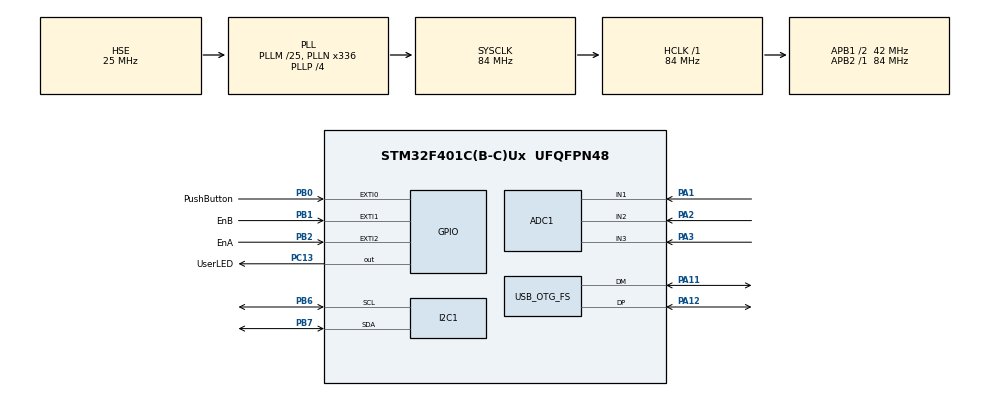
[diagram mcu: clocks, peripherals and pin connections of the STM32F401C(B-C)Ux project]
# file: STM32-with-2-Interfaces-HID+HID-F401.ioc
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ADC1.Channel-0\#ChannelRegularConversion=ADC_CHANNEL_1
ADC1.Channel-1\#ChannelRegularConversion=ADC_CHANNEL_1
ADC1.Channel-2\#ChannelRegularConversion=ADC_CHANNEL_1
ADC1.ContinuousConvMode=ENABLE
ADC1.NbrOfConversion=3
ADC1.NbrOfConversionFlag=1
ADC1.Rank-0\#ChannelRegularConversion=1
ADC1.Rank-1\#ChannelRegularConversion=2
ADC1.Rank-2\#ChannelRegularConversion=3
ADC1.SamplingTime-0\#ChannelRegularConversion=ADC_SAMPLETIME_84CYCLES
ADC1.SamplingTime-1\#ChannelRegularConversion=ADC_SAMPLETIME_84CYCLES
ADC1.SamplingTime-2\#ChannelRegularConversion=ADC_SAMPLETIME_84CYCLES
ADC1.master=1
I2C1.I2C_Mode=I2C_Fast
Mcu.Family=STM32F4
Mcu.Name=STM32F401C(B-C)Ux
Mcu.Package=UFQFPN48
NVIC.EXTI0_IRQn=true\:0\:0\:false\:false\:true\:true\:true\:true
NVIC.EXTI1_IRQn=true\:0\:0\:false\:false\:true\:true\:true\:true
NVIC.EXTI2_IRQn=true\:0\:0\:false\:false\:true\:true\:true\:true
NVIC.OTG_FS_IRQn=true\:0\:0\:false\:false\:true\:false\:true\:true
NVIC.PriorityGroup=NVIC_PRIORITYGROUP_4
NVIC.TIM2_IRQn=true\:0\:0\:false\:false\:true\:true\:true\:true
PA1.Signal=ADCx_IN1
PA11.Mode=Device_Only
PA11.Signal=USB_OTG_FS_DM
PA12.Mode=Device_Only
PA12.Signal=USB_OTG_FS_DP
PA2.Signal=ADCx_IN2
PA3.Signal=ADCx_IN3
PB0.GPIO_Label=PushButton
PB0.GPIO_ModeDefaultEXTI=GPIO_MODE_IT_FALLING
PB0.Signal=GPXTI0
PB1.GPIO_Label=EnB
PB1.GPIO_ModeDefaultEXTI=GPIO_MODE_IT_RISING_FALLING
PB1.Signal=GPXTI1
PB2.GPIO_Label=EnA
PB2.GPIO_ModeDefaultEXTI=GPIO_MODE_IT_RISING_FALLING
PB2.Signal=GPXTI2
PB6.Mode=I2C
PB6.Signal=I2C1_SCL
PB7.Mode=I2C
PB7.Signal=I2C1_SDA
PC13-ANTI_TAMP.GPIO_Label=UserLED
PC13-ANTI_TAMP.Signal=GPIO_Output
PH0\ -\ OSC_IN.Mode=HSE-External-Oscillator
PH0\ -\ OSC_IN.Signal=RCC_OSC_IN
PH1\ -\ OSC_OUT.Mode=HSE-External-Oscillator
PH1\ -\ OSC_OUT.Signal=RCC_OSC_OUT
ProjectManager.HeapSize=0x400
ProjectManager.StackSize=0x600
ProjectManager.TargetToolchain=STM32CubeIDE
RCC.48MHZClocksFreq_Value=48000000
RCC.AHBFreq_Value=84000000
RCC.APB1CLKDivider=RCC_HCLK_DIV2
RCC.APB1Freq_Value=42000000
RCC.APB1TimFreq_Value=84000000
RCC.APB2Freq_Value=84000000
RCC.APB2TimFreq_Value=84000000
RCC.CortexFreq_Value=84000000
RCC.HCLKFreq_Value=84000000
RCC.HSE_VALUE=25000000
RCC.HSI_VALUE=16000000
RCC.LSE_VALUE=32768
RCC.PLLM=25
RCC.PLLN=336
RCC.PLLP=RCC_PLLP_DIV4
RCC.PLLQ=7
RCC.SYSCLKFreq_VALUE=84000000
RCC.SYSCLKSource=RCC_SYSCLKSOURCE_PLLCLK
RCC.VCOOutputFreq_Value=336000000
SH.ADCx_IN1.0=ADC1_IN1,IN1
SH.ADCx_IN2.0=ADC1_IN2,IN2
SH.ADCx_IN3.0=ADC1_IN3,IN3
TIM2.Period=839
TIM2.Prescaler=99
USB_DEVICE.CLASS_NAME_FS=CUSTOM_HID
USB_DEVICE.CUSTOM_HID_FS_BINTERVAL=0x1
USB_DEVICE.PID_CUSTOMHID_FS=22362 
USB_DEVICE.USBD_CUSTOMHID_OUTREPORT_BUF_SIZE=8
USB_DEVICE.USBD_CUSTOM_HID_REPORT_DESC_SIZE=63
USB_DEVICE.USBD_MAX_NUM_INTERFACES=2
USB_DEVICE.USBD_SELF_POWERED=0
USB_DEVICE.VirtualMode=CustomHid
USB_DEVICE.VirtualModeFS=Custom_Hid_FS
USB_OTG_FS.VirtualMode=Device_Only
VP_TIM2_VS_ClockSourceINT.Mode=Internal
VP_USB_DEVICE_VS_USB_DEVICE_CUSTOM_HID_FS.Mode=CUSTOM_HID_FS
board=custom

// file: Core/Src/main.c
/* USER CODE BEGIN Header */
/**
 ******************************************************************************
 * @file           : main.c
 * @brief          : Main program body
 ******************************************************************************
 * @attention
 *
 * Copyright (c) 2024 STMicroelectronics.
 * All rights reserved.
 *
 * This software is licensed under terms that can be found in the LICENSE file
 * in the root directory of this software component.
 * If no LICENSE file comes with this software, it is provided AS-IS.
 *
 ******************************************************************************
 */
/* USER CODE END Header */
#include "main.h"
#include "usb_device.h"

/* USER CODE BEGIN Includes */
#include "usbd_customhid.h"
#include "ssd1306.h"
#include "ssd1306_tests.h"
#include "math.h"
#include <stdint.h>
#include <stdio.h>
#include <stdlib.h>
#include <stdbool.h>
/* USER CODE END Includes */

ADC_HandleTypeDef hadc1;

I2C_HandleTypeDef hi2c1;

TIM_HandleTypeDef htim2;

/* USER CODE BEGIN PV */
extern USBD_HandleTypeDef hUsbDeviceFS;
#define bufferSize 8
uint8_t keyboardHID[bufferSize] = { 0, 0, 0, 0, 0, 0, 0, 0 };
uint8_t buffer[bufferSize] = { 0, 0, 0, 0, 0, 0, 0, 0 };
uint32_t PB_activity = 2863311530;
uint8_t KEY[3] = { 0x04, 0x16, 0x07 };
uint32_t USBKEYBOARDfailCOUNTER = 0;
uint32_t USBKEYBOARDbusyCOUNTER = 0;
uint32_t USBJOYSTICKfailCOUNTER = 0;
uint32_t USBJOYSTICKbusyCOUNTER = 0;
uint32_t USBKEYBOARDokTIME = 0;
uint32_t USBJOYSTICKokTIME = 0;
uint32_t USBKEYBOARDokSTART = 0;
uint32_t USBJOYSTICKokSTART = 0;
bool ISsendKEYBOARD = SET;

uint32_t loopTime = 0;
int32_t HE_value[3] = { 0, 0, 0 };
uint32_t HE_TOPvalue[3] = { 0, 0, 0 };
uint32_t HE_BOTTOMvalue[3] = { 0, 0, 0 };
uint32_t HE_RANGEvalue[3] = { 0, 0, 0 };
float HE_SCALEvalue[3] = { 0.00, 0.00, 0.00 };
float HE_MMvalue[3] = { 0.00, 0.00, 0.00 };
float HE_lastMMvalue[3] = { 0.00, 0.00, 0.00 };
uint8_t HE_Status[3] = { RESET, RESET, RESET };
float HE_StatusChangeOffset = 0.15;
float HE_trigger = 0.30;
int32_t HE_RTcount = 0;
static float SwitchTravelDistance = 4.02;
static uint32_t ADC_HE_Channel[3] = {
ADC_CHANNEL_1, ADC_CHANNEL_2,
ADC_CHANNEL_3 };
bool HE_calibration = RESET;

volatile int32_t encoderPos = 0;
volatile bool encoderPrevA = RESET;
volatile bool encoderPrevB = RESET;
int32_t lastEncoderPos = 0;
uint32_t lastEncoderTime = 0;
volatile bool pushButtonState = RESET;
bool encoderCW = RESET;
bool encoderCCW = RESET;

const unsigned char bitmap_Press[] = { 0x10, 0x38, 0x38, 0x38, 0x38, 0x38, 0x38,
		0x38, 0x38, 0x38, 0x38, 0x38, 0x38, 0x38, 0x38, 0x38, 0x38, 0xfe, 0xfe,
		0x7c, 0x38, 0x10, };
const unsigned char bitmap_Realese[] = { 0x10, 0x38, 0x7c, 0xfe, 0xfe, 0x38,
		0x38, 0x38, 0x38, 0x38, 0x38, 0x38, 0x38, 0x38, 0x38, 0x38, 0x38, 0x38,
		0x38, 0x38, 0x38, 0x10, };
const unsigned char bitmap_OSUlogo[] = { 0x00, 0x00, 0x00, 0x00, 0x00, 0x00,
		0x00, 0x00, 0x00, 0x00, 0x00, 0x00, 0x00, 0x00, 0x00, 0x00, 0x00, 0x00,
		0x00, 0x00, 0x00, 0x00, 0x00, 0x00, 0x00, 0x00, 0x00, 0x00, 0x00, 0x00,
		0x00, 0x00, 0x00, 0x00, 0x00, 0x00, 0x00, 0x00, 0x00, 0x00, 0x00, 0x00,
		0x00, 0x7f, 0xfe, 0x00, 0x00, 0x00, 0x00, 0x00, 0x03, 0xff, 0xff, 0xc0,
		0x00, 0x00, 0x00, 0x00, 0x0f, 0xf8, 0x1f, 0xf0, 0x00, 0x00, 0x00, 0x00,
		0x3f, 0x00, 0x00, 0xfc, 0x00, 0x00, 0x00, 0x00, 0xfc, 0x00, 0x00, 0x3f,
		0x00, 0x00, 0x00, 0x01, 0xf0, 0x00, 0x00, 0x0f, 0x80, 0x00, 0x00, 0x03,
		0xc0, 0x00, 0x00, 0x03, 0xc0, 0x00, 0x00, 0x07, 0x80, 0x00, 0x00, 0x01,
		0xe0, 0x00, 0x00, 0x0f, 0x00, 0x00, 0x00, 0x00, 0xf0, 0x00, 0x00, 0x1e,
		0x00, 0x00, 0x00, 0x00, 0x78, 0x00, 0x00, 0x3c, 0x00, 0x00, 0x00, 0x00,
		0x3c, 0x00, 0x00, 0x78, 0x00, 0x00, 0x00, 0x00, 0x1e, 0x00, 0x00, 0x70,
		0x00, 0x00, 0x00, 0x00, 0x0e, 0x00, 0x00, 0xe0, 0x00, 0x00, 0x00, 0x00,
		0x07, 0x00, 0x00, 0xe0, 0x00, 0x00, 0x00, 0x00, 0x07, 0x00, 0x01, 0xc0,
		0x00, 0x00, 0x00, 0x00, 0x03, 0x80, 0x01, 0xc0, 0x00, 0x00, 0x00, 0x00,
		0x03, 0x80, 0x03, 0x80, 0x00, 0x00, 0x00, 0x00, 0x01, 0xc0, 0x03, 0x80,
		0x00, 0x00, 0x00, 0x01, 0xc1, 0xc0, 0x03, 0x00, 0x00, 0x00, 0x00, 0x01,
		0xc0, 0xc0, 0x07, 0x00, 0x00, 0x00, 0x00, 0x01, 0xc0, 0xe0, 0x07, 0x00,
		0x00, 0x00, 0x00, 0x01, 0xc0, 0xe0, 0x07, 0x01, 0xf8, 0x1f, 0x9c, 0x71,
		0xc0, 0xe0, 0x07, 0x03, 0xfc, 0x3f, 0x1c, 0x71, 0xc0, 0xe0, 0x06, 0x03,
		0x8e, 0x70, 0x1c, 0x71, 0xc0, 0x60, 0x06, 0x07, 0x0e, 0x78, 0x1c, 0x71,
		0xc0, 0x60, 0x06, 0x07, 0x0e, 0x3f, 0x1c, 0x71, 0xc0, 0x60, 0x06, 0x07,
		0x06, 0x1f, 0x9c, 0x71, 0xc0, 0x60, 0x06, 0x07, 0x0e, 0x03, 0x9c, 0x70,
		0x00, 0x60, 0x06, 0x03, 0x8e, 0x03, 0x9c, 0x70, 0x80, 0x60, 0x07, 0x03,
		0xde, 0x3f, 0x8f, 0xf1, 0xc0, 0xe0, 0x07, 0x01, 0xfc, 0x7f, 0x0f, 0xf1,
		0xc0, 0xe0, 0x07, 0x00, 0x70, 0x3c, 0x03, 0xe1, 0xc0, 0xe0, 0x07, 0x00,
		0x00, 0x00, 0x00, 0x00, 0x00, 0xe0, 0x03, 0x00, 0x00, 0x00, 0x00, 0x00,
		0x00, 0xc0, 0x03, 0x80, 0x00, 0x00, 0x00, 0x00, 0x01, 0xc0, 0x03, 0x80,
		0x00, 0x00, 0x00, 0x00, 0x01, 0xc0, 0x01, 0xc0, 0x00, 0x00, 0x00, 0x00,
		0x03, 0x80, 0x01, 0xc0, 0x00, 0x00, 0x00, 0x00, 0x03, 0x80, 0x00, 0xe0,
		0x00, 0x00, 0x00, 0x00, 0x07, 0x00, 0x00, 0xe0, 0x00, 0x00, 0x00, 0x00,
		0x07, 0x00, 0x00, 0x70, 0x00, 0x00, 0x00, 0x00, 0x0e, 0x00, 0x00, 0x78,
		0x00, 0x00, 0x00, 0x00, 0x1e, 0x00, 0x00, 0x3c, 0x00, 0x00, 0x00, 0x00,
		0x3c, 0x00, 0x00, 0x1e, 0x00, 0x00, 0x00, 0x00, 0x78, 0x00, 0x00, 0x0f,
		0x00, 0x00, 0x00, 0x00, 0xf0, 0x00, 0x00, 0x07, 0x80, 0x00, 0x00, 0x01,
		0xe0, 0x00, 0x00, 0x03, 0xc0, 0x00, 0x00, 0x03, 0xc0, 0x00, 0x00, 0x01,
		0xf0, 0x00, 0x00, 0x0f, 0x80, 0x00, 0x00, 0x00, 0xfc, 0x00, 0x00, 0x3f,
		0x00, 0x00, 0x00, 0x00, 0x3f, 0x00, 0x00, 0xfc, 0x00, 0x00, 0x00, 0x00,
		0x0f, 0xf8, 0x1f, 0xf0, 0x00, 0x00, 0x00, 0x00, 0x03, 0xff, 0xff, 0xc0,
		0x00, 0x00, 0x00, 0x00, 0x00, 0x7f, 0xfe, 0x00, 0x00, 0x00, 0x00, 0x00,
		0x00, 0x00, 0x00, 0x00, 0x00, 0x00, 0x00, 0x00, 0x00, 0x00, 0x00, 0x00,
		0x00, 0x00, 0x00, 0x00, 0x00, 0x00, 0x00, 0x00, 0x00, 0x00, 0x00, 0x00,
		0x00, 0x00, 0x00, 0x00, 0x00, 0x00, 0x00, 0x00, 0x00, 0x00, 0x00, 0x00,
		0x00, 0x00 };
char RTosuPAD[] = "RTosuPAD";
char By[] = "By:";
char fikr_hrd[] = "@fikr_hrd";
char RTcount[] = "RTcount:";
char Trig[] = "Trig:";
char RT[] = "RT:";
uint32_t ssd1306_timeTaken = 0;
bool ssd1306_Enable = RESET;
int8_t ssd1306_displayIndex = 0;
bool ssd1306_displayEditing = RESET;
/* USER CODE END PV */

void SystemClock_Config(void);
static void MX_GPIO_Init(void);
static void MX_ADC1_Init(void);
static void MX_I2C1_Init(void);
static void MX_TIM2_Init(void);
/* USER CODE BEGIN PFP */
void ADC_HE_Init(void);
void ADC_Read_HE1(void);
void ADC_Read_HE2(void);
void ADC_Read_HE3(void);
void ADC_HE_Reading(void);
void Blink(void);
void EncoderUpdate(void);
void Encoder(void);
void PushButtonUpdate(void);
void keyUpdate(void);
void ssd1306_display(void);
void ssd1306_LOGO(void);
float Fconstrain(float, float, float);
int32_t constrain(int32_t, int32_t, int32_t);

// TODO change below variable if generate new code
//#define USB_CUSTOM_HID_CONFIG_DESC_SIZ               59U

//#ifndef CUSTOM_HID_KEYBOARD_EPIN_ADDR
//#define CUSTOM_HID_KEYBOARD_EPIN_ADDR                         0x81U
//#endif /* CUSTOM_HID_KEYBOARD_EPIN_ADDR */
//
//#ifndef CUSTOM_HID_KEYBOARD_EPIN_SIZE
//#define CUSTOM_HID_KEYBOARD_EPIN_SIZE                         0x02U
//#endif /* CUSTOM_HID_KEYBOARD_EPIN_SIZE */
//
//#ifndef CUSTOM_HID_JOYSTICK_EPIN_ADDR
//#define CUSTOM_HID_JOYSTICK_EPIN_ADDR                         0x82U
//#endif /* CUSTOM_HID_JOYSTICK_EPIN_ADDR */
//
//#ifndef CUSTOM_HID_JOYSTICK_EPIN_SIZE
//#define CUSTOM_HID_JOYSTICK_EPIN_SIZE                         0x02U
//#endif /* CUSTOM_HID_JOYSTICK_EPIN_SIZE */

//#define USBD_CUSTOM_HID_KEYBOARD_REPORT_DESC_SIZE     2U
//#define USBD_CUSTOM_HID_JOYSTICK_REPORT_DESC_SIZE     2U
/* USER CODE END PFP */

int main(void) {

	/* MCU Configuration--------------------------------------------------------*/

	/* Reset of all peripherals, Initializes the Flash interface and the Systick. */
	HAL_Init();

	/* Configure the system clock */
	SystemClock_Config();

	/* Initialize all configured peripherals */
	MX_GPIO_Init();
	MX_ADC1_Init();
	MX_I2C1_Init();
	MX_USB_DEVICE_Init();
	MX_TIM2_Init();
	/* USER CODE BEGIN 2 */
//	ssd1306_Init();
//	ADC_HE_Init();
//	ssd1306_LOGO();
	keyboardHID[2] = 0x71;
	keyboardHID[3] = 0x72;
	keyboardHID[4] = 0x73;

	buffer[0] = 0;
	buffer[1] = PB_activity >> 8;
	buffer[2] = PB_activity >> 16;
	buffer[3] = PB_activity >> 24;
	buffer[4] = LOBYTE(65535 / 2);
	buffer[5] = HIBYTE(65535 / 2);
	buffer[6] = LOBYTE(65535 / 2);
	buffer[7] = HIBYTE(65535 / 2);
	/* USER CODE END 2 */

	/* Infinite loop */
	while (1) {

		/* USER CODE BEGIN 3 */
		uint32_t x = HAL_GetTick();

		/*while (USBD_CUSTOM_HID_SendReport(&hUsbDeviceFS, keyboardHID,
		bufferSize, CUSTOM_HID_KEYBOARD_EPIN_ADDR) != USBD_OK)
			;
		while (USBD_CUSTOM_HID_SendReport(&hUsbDeviceFS, buffer,
		bufferSize, CUSTOM_HID_JOYSTICK_EPIN_ADDR) != USBD_OK)
			;*/

//		ssd1306_TestAll();
//		ADC_HE_Reading();
//		ssd1306_display();
//		Encoder();
//		keyUpdate();
//		Blink();

		loopTime = HAL_GetTick() - x;
	}
	/* USER CODE END 3 */
}

void SystemClock_Config(void) {
	RCC_OscInitTypeDef RCC_OscInitStruct = { 0 };
	RCC_ClkInitTypeDef RCC_ClkInitStruct = { 0 };

	/** Configure the main internal regulator output voltage
	 */
	__HAL_RCC_PWR_CLK_ENABLE();
	__HAL_PWR_VOLTAGESCALING_CONFIG(PWR_REGULATOR_VOLTAGE_SCALE2);

	/** Initializes the RCC Oscillators according to the specified parameters
	 * in the RCC_OscInitTypeDef structure.
	 */
	RCC_OscInitStruct.OscillatorType = RCC_OSCILLATORTYPE_HSE;
	RCC_OscInitStruct.HSEState = RCC_HSE_ON;
	RCC_OscInitStruct.PLL.PLLState = RCC_PLL_ON;
	RCC_OscInitStruct.PLL.PLLSource = RCC_PLLSOURCE_HSE;
	RCC_OscInitStruct.PLL.PLLM = 25;
	RCC_OscInitStruct.PLL.PLLN = 336;
	RCC_OscInitStruct.PLL.PLLP = RCC_PLLP_DIV4;
	RCC_OscInitStruct.PLL.PLLQ = 7;
	if (HAL_RCC_OscConfig(&RCC_OscInitStruct) != HAL_OK) {
		Error_Handler();
	}

	/** Initializes the CPU, AHB and APB buses clocks
	 */
	RCC_ClkInitStruct.ClockType = RCC_CLOCKTYPE_HCLK | RCC_CLOCKTYPE_SYSCLK
			| RCC_CLOCKTYPE_PCLK1 | RCC_CLOCKTYPE_PCLK2;
	RCC_ClkInitStruct.SYSCLKSource = RCC_SYSCLKSOURCE_PLLCLK;
	RCC_ClkInitStruct.AHBCLKDivider = RCC_SYSCLK_DIV1;
	RCC_ClkInitStruct.APB1CLKDivider = RCC_HCLK_DIV2;
	RCC_ClkInitStruct.APB2CLKDivider = RCC_HCLK_DIV1;

	if (HAL_RCC_ClockConfig(&RCC_ClkInitStruct, FLASH_LATENCY_2) != HAL_OK) {
		Error_Handler();
	}
}

static void MX_ADC1_Init(void) {

	ADC_ChannelConfTypeDef sConfig = { 0 };

	/** Configure the global features of the ADC (Clock, Resolution, Data Alignment and number of conversion)
	 */
	hadc1.Instance = ADC1;
	hadc1.Init.ClockPrescaler = ADC_CLOCK_SYNC_PCLK_DIV4;
	hadc1.Init.Resolution = ADC_RESOLUTION_12B;
	hadc1.Init.ScanConvMode = ENABLE;
	hadc1.Init.ContinuousConvMode = ENABLE;
	hadc1.Init.DiscontinuousConvMode = DISABLE;
	hadc1.Init.ExternalTrigConvEdge = ADC_EXTERNALTRIGCONVEDGE_NONE;
	hadc1.Init.ExternalTrigConv = ADC_SOFTWARE_START;
	hadc1.Init.DataAlign = ADC_DATAALIGN_RIGHT;
	hadc1.Init.NbrOfConversion = 3;
	hadc1.Init.DMAContinuousRequests = DISABLE;
	hadc1.Init.EOCSelection = ADC_EOC_SINGLE_CONV;
	if (HAL_ADC_Init(&hadc1) != HAL_OK) {
		Error_Handler();
	}

	/** Configure for the selected ADC regular channel its corresponding rank in the sequencer and its sample time.
	 */
	sConfig.Channel = ADC_CHANNEL_1;
	sConfig.Rank = 1;
	sConfig.SamplingTime = ADC_SAMPLETIME_84CYCLES;
	if (HAL_ADC_ConfigChannel(&hadc1, &sConfig) != HAL_OK) {
		Error_Handler();
	}

	/** Configure for the selected ADC regular channel its corresponding rank in the sequencer and its sample time.
	 */
	sConfig.Rank = 2;
	if (HAL_ADC_ConfigChannel(&hadc1, &sConfig) != HAL_OK) {
		Error_Handler();
	}

	/** Configure for the selected ADC regular channel its corresponding rank in the sequencer and its sample time.
	 */
	sConfig.Rank = 3;
	if (HAL_ADC_ConfigChannel(&hadc1, &sConfig) != HAL_OK) {
		Error_Handler();
	}

}

static void MX_I2C1_Init(void) {

	hi2c1.Instance = I2C1;
	hi2c1.Init.ClockSpeed = 400000;
	hi2c1.Init.DutyCycle = I2C_DUTYCYCLE_2;
	hi2c1.Init.OwnAddress1 = 0;
	hi2c1.Init.AddressingMode = I2C_ADDRESSINGMODE_7BIT;
	hi2c1.Init.DualAddressMode = I2C_DUALADDRESS_DISABLE;
	hi2c1.Init.OwnAddress2 = 0;
	hi2c1.Init.GeneralCallMode = I2C_GENERALCALL_DISABLE;
	hi2c1.Init.NoStretchMode = I2C_NOSTRETCH_DISABLE;
	if (HAL_I2C_Init(&hi2c1) != HAL_OK) {
		Error_Handler();
	}

}

static void MX_TIM2_Init(void) {

	TIM_ClockConfigTypeDef sClockSourceConfig = { 0 };
	TIM_MasterConfigTypeDef sMasterConfig = { 0 };

	htim2.Instance = TIM2;
	htim2.Init.Prescaler = 99;
	htim2.Init.CounterMode = TIM_COUNTERMODE_UP;
	htim2.Init.Period = 419;
	htim2.Init.ClockDivision = TIM_CLOCKDIVISION_DIV1;
	htim2.Init.AutoReloadPreload = TIM_AUTORELOAD_PRELOAD_DISABLE;
	if (HAL_TIM_Base_Init(&htim2) != HAL_OK) {
		Error_Handler();
	}
	sClockSourceConfig.ClockSource = TIM_CLOCKSOURCE_INTERNAL;
	if (HAL_TIM_ConfigClockSource(&htim2, &sClockSourceConfig) != HAL_OK) {
		Error_Handler();
	}
	sMasterConfig.MasterOutputTrigger = TIM_TRGO_RESET;
	sMasterConfig.MasterSlaveMode = TIM_MASTERSLAVEMODE_DISABLE;
	if (HAL_TIMEx_MasterConfigSynchronization(&htim2, &sMasterConfig)
			!= HAL_OK) {
		Error_Handler();
	}

}

static void MX_GPIO_Init(void) {
	LL_EXTI_InitTypeDef EXTI_InitStruct = { 0 };
	LL_GPIO_InitTypeDef GPIO_InitStruct = { 0 };

	/* GPIO Ports Clock Enable */
	LL_AHB1_GRP1_EnableClock(LL_AHB1_GRP1_PERIPH_GPIOC);
	LL_AHB1_GRP1_EnableClock(LL_AHB1_GRP1_PERIPH_GPIOH);
	LL_AHB1_GRP1_EnableClock(LL_AHB1_GRP1_PERIPH_GPIOA);
	LL_AHB1_GRP1_EnableClock(LL_AHB1_GRP1_PERIPH_GPIOB);

	/**/
	LL_GPIO_ResetOutputPin(UserLED_GPIO_Port, UserLED_Pin);

	/**/
	GPIO_InitStruct.Pin = UserLED_Pin;
	GPIO_InitStruct.Mode = LL_GPIO_MODE_OUTPUT;
	GPIO_InitStruct.Speed = LL_GPIO_SPEED_FREQ_LOW;
	GPIO_InitStruct.OutputType = LL_GPIO_OUTPUT_PUSHPULL;
	GPIO_InitStruct.Pull = LL_GPIO_PULL_NO;
	LL_GPIO_Init(UserLED_GPIO_Port, &GPIO_InitStruct);

	/**/
	LL_SYSCFG_SetEXTISource(LL_SYSCFG_EXTI_PORTB, LL_SYSCFG_EXTI_LINE0);

	/**/
	LL_SYSCFG_SetEXTISource(LL_SYSCFG_EXTI_PORTB, LL_SYSCFG_EXTI_LINE1);

	/**/
	LL_SYSCFG_SetEXTISource(LL_SYSCFG_EXTI_PORTB, LL_SYSCFG_EXTI_LINE2);

	/**/
	EXTI_InitStruct.Line_0_31 = LL_EXTI_LINE_0;
	EXTI_InitStruct.LineCommand = ENABLE;
	EXTI_InitStruct.Mode = LL_EXTI_MODE_IT;
	EXTI_InitStruct.Trigger = LL_EXTI_TRIGGER_FALLING;
	LL_EXTI_Init(&EXTI_InitStruct);

	/**/
	EXTI_InitStruct.Line_0_31 = LL_EXTI_LINE_1;
	EXTI_InitStruct.LineCommand = ENABLE;
	EXTI_InitStruct.Mode = LL_EXTI_MODE_IT;
	EXTI_InitStruct.Trigger = LL_EXTI_TRIGGER_RISING_FALLING;
	LL_EXTI_Init(&EXTI_InitStruct);

	/**/
	EXTI_InitStruct.Line_0_31 = LL_EXTI_LINE_2;
	EXTI_InitStruct.LineCommand = ENABLE;
	EXTI_InitStruct.Mode = LL_EXTI_MODE_IT;
	EXTI_InitStruct.Trigger = LL_EXTI_TRIGGER_RISING_FALLING;
	LL_EXTI_Init(&EXTI_InitStruct);

	/**/
	LL_GPIO_SetPinPull(PushButton_GPIO_Port, PushButton_Pin, LL_GPIO_PULL_NO);

	/**/
	LL_GPIO_SetPinPull(EnB_GPIO_Port, EnB_Pin, LL_GPIO_PULL_NO);

	/**/
	LL_GPIO_SetPinPull(EnA_GPIO_Port, EnA_Pin, LL_GPIO_PULL_NO);

	/**/
	LL_GPIO_SetPinMode(PushButton_GPIO_Port, PushButton_Pin,
	LL_GPIO_MODE_INPUT);

	/**/
	LL_GPIO_SetPinMode(EnB_GPIO_Port, EnB_Pin, LL_GPIO_MODE_INPUT);

	/**/
	LL_GPIO_SetPinMode(EnA_GPIO_Port, EnA_Pin, LL_GPIO_MODE_INPUT);

	/* EXTI interrupt init*/
	NVIC_SetPriority(EXTI0_IRQn,
			NVIC_EncodePriority(NVIC_GetPriorityGrouping(), 0, 0));
	NVIC_EnableIRQ(EXTI0_IRQn);
	NVIC_SetPriority(EXTI1_IRQn,
			NVIC_EncodePriority(NVIC_GetPriorityGrouping(), 0, 0));
	NVIC_EnableIRQ(EXTI1_IRQn);
	NVIC_SetPriority(EXTI2_IRQn,
			NVIC_EncodePriority(NVIC_GetPriorityGrouping(), 0, 0));
	NVIC_EnableIRQ(EXTI2_IRQn);

}

/* USER CODE BEGIN 4 */
void ADC_HE_Init(void) {
	/** Configure the global features of the ADC (Clock, Resolution, Data Alignment and number of conversion)
	 */
	hadc1.Instance = ADC1;
	hadc1.Init.ClockPrescaler = ADC_CLOCK_SYNC_PCLK_DIV4;
	hadc1.Init.Resolution = ADC_RESOLUTION_12B;
	hadc1.Init.ScanConvMode = ENABLE;
	hadc1.Init.ContinuousConvMode = ENABLE;
	hadc1.Init.DiscontinuousConvMode = DISABLE;
	hadc1.Init.ExternalTrigConvEdge = ADC_EXTERNALTRIGCONVEDGE_NONE;
	hadc1.Init.ExternalTrigConv = ADC_SOFTWARE_START;
	hadc1.Init.DataAlign = ADC_DATAALIGN_RIGHT;
	hadc1.Init.NbrOfConversion = 1;
	hadc1.Init.DMAContinuousRequests = DISABLE;
	hadc1.Init.EOCSelection = ADC_EOC_SINGLE_CONV;
	if (HAL_ADC_Init(&hadc1) != HAL_OK) {
		Error_Handler();
	}

	for (uint8_t i = 0; i < 3; ++i) {
		ADC_ChannelConfTypeDef sConfig = { 0 };
		/** Configure for the selected ADC regular channel its corresponding rank in the sequencer and its sample time.
		 */
		sConfig.Channel = ADC_HE_Channel[i];
		sConfig.Rank = 1;
		sConfig.SamplingTime = ADC_SAMPLETIME_144CYCLES;
		if (HAL_ADC_ConfigChannel(&hadc1, &sConfig) != HAL_OK) {
			Error_Handler();
		}

		for (uint8_t j = 0; j < 10; ++j) {
			HAL_ADC_Start(&hadc1);
			HAL_ADC_PollForConversion(&hadc1, 1000);
			HE_TOPvalue[i] += HAL_ADC_GetValue(&hadc1);
			HAL_ADC_Stop(&hadc1);
			HAL_Delay(40);
		}
		HE_TOPvalue[i] /= 10;
	}
	LL_GPIO_TogglePin(UserLED_GPIO_Port, UserLED_Pin);
}

void ADC_HE_Reading(void) {
	if (!HE_calibration) {
		if (pushButtonState) {
			pushButtonState = RESET;
			for (uint8_t i = 0; i < 3; ++i) {
				ADC_ChannelConfTypeDef sConfig = { 0 };
				/** Configure for the selected ADC regular channel its corresponding rank in the sequencer and its sample time.
				 */
				sConfig.Channel = ADC_HE_Channel[i];
				sConfig.Rank = 1;
				sConfig.SamplingTime = ADC_SAMPLETIME_144CYCLES;
				if (HAL_ADC_ConfigChannel(&hadc1, &sConfig) != HAL_OK) {
					Error_Handler();
				}

				for (uint8_t j = 0; j < 10; ++j) {
					HAL_ADC_Start(&hadc1);
					HAL_ADC_PollForConversion(&hadc1, 1000);
					HE_BOTTOMvalue[i] += HAL_ADC_GetValue(&hadc1);
					HAL_ADC_Stop(&hadc1);
					HAL_Delay(40);
				}
				HE_BOTTOMvalue[i] /= 10;
				HE_RANGEvalue[i] = HE_TOPvalue[i] - HE_BOTTOMvalue[i];
				HE_SCALEvalue[i] = SwitchTravelDistance / HE_RANGEvalue[i];
			}
			HE_calibration = SET;
		}
	} else {
		for (uint8_t i = 0; i < 3; ++i) {
			ADC_ChannelConfTypeDef sConfig = { 0 };
			/** Configure for the selected ADC regular channel its corresponding rank in the sequencer and its sample time.
			 */
			sConfig.Channel = ADC_HE_Channel[i];
			sConfig.Rank = 1;
			sConfig.SamplingTime = ADC_SAMPLETIME_144CYCLES;
			if (HAL_ADC_ConfigChannel(&hadc1, &sConfig) != HAL_OK) {
				Error_Handler();
			}
			HAL_ADC_Start(&hadc1);
			HAL_ADC_PollForConversion(&hadc1, 1000);
			HE_value[i] = HAL_ADC_GetValue(&hadc1) - HE_BOTTOMvalue[i];
			HAL_ADC_Stop(&hadc1);
			HE_MMvalue[i] = HE_value[i] * HE_SCALEvalue[i];
		}
	}
}

void keyUpdate(void) {
//	static uint32_t time = 0;
//	if (HAL_GetTick() - time > 1) {
//		time = HAL_GetTick();

	if (HE_calibration) {
		for (int8_t i = 0; i < 3; ++i) {
			if (HE_MMvalue[i] < 4.00 - HE_trigger) {
				if (HE_MMvalue[i] > HE_lastMMvalue[i] + HE_StatusChangeOffset
//						|| HE_MMvalue[i] > 4.00
						) {
					HE_RTcount++;
					HE_lastMMvalue[i] = HE_MMvalue[i];
					HE_Status[i] = RESET;
					keyboardHID[i + 2] = 0x00;
				}

				if (HE_MMvalue[i] < HE_lastMMvalue[i] - HE_StatusChangeOffset) {
					HE_lastMMvalue[i] = HE_MMvalue[i];
					HE_Status[i] = SET;
					keyboardHID[i + 2] = KEY[i];
				}
			} else {
				HE_lastMMvalue[i] = HE_MMvalue[i] + HE_StatusChangeOffset;
				HE_Status[i] = RESET;
				keyboardHID[i + 2] = 0x00;
			}

		}
	}

	keyboardHID[5] = 0x00;
	keyboardHID[6] = 0x00;
	if (!ssd1306_Enable) {
		if (encoderCW) {
			encoderCW = RESET;
			keyboardHID[5] = 0x27;
		}

		if (encoderCCW) {
			encoderCCW = RESET;
			keyboardHID[6] = 0x1E;
		}
	}
	keyboardHID[2] = 0x71;
	keyboardHID[3] = 0x72;
	keyboardHID[4] = 0x73;

	buffer[0] = 0;
	buffer[1] = PB_activity >> 8;
	buffer[2] = PB_activity >> 16;
	buffer[3] = PB_activity >> 24;
	buffer[4] = LOBYTE(65535 / 2);
	buffer[5] = HIBYTE(65535 / 2);
	buffer[6] = LOBYTE(65535 / 2);
	buffer[7] = HIBYTE(65535 / 2);

//	while (USBD_CUSTOM_HID_SendReport(&hUsbDeviceFS, keyboardHID,
//	bufferSize, CUSTOM_HID_KEYBOARD_EPIN_ADDR) != USBD_OK)
//		;
//	while (USBD_CUSTOM_HID_SendReport(&hUsbDeviceFS, buffer,
//	bufferSize, CUSTOM_HID_JOYSTICK_EPIN_ADDR) != USBD_OK)
//		;

//		if (ISsendKEYBOARD) {
//			switch (USBD_CUSTOM_HID_SendReport(&hUsbDeviceFS, keyboardHID,
//			bufferSize, CUSTOM_HID_KEYBOARD_EPIN_ADDR)) {
//			case USBD_FAIL:
//				USBKEYBOARDfailCOUNTER++;
//				USBKEYBOARDokSTART = HAL_GetTick();
//				break;
//			case USBD_BUSY:
//				USBKEYBOARDbusyCOUNTER++;
//				USBKEYBOARDokSTART = HAL_GetTick();
//				break;
//			default:
//				USBKEYBOARDokTIME = HAL_GetTick() - USBKEYBOARDokSTART;
//				ISsendKEYBOARD = RESET;
//				break;
//			}
//		} else {
//			switch (USBD_CUSTOM_HID_SendReport(&hUsbDeviceFS, buffer,
//			bufferSize, CUSTOM_HID_JOYSTICK_EPIN_ADDR)) {
//			case USBD_FAIL:
//				USBJOYSTICKfailCOUNTER++;
//				USBJOYSTICKokSTART = HAL_GetTick();
//				break;
//			case USBD_BUSY:
//				USBJOYSTICKbusyCOUNTER++;
//				USBJOYSTICKokSTART = HAL_GetTick();
//				break;
//			default:
//				USBJOYSTICKokTIME = HAL_GetTick() - USBJOYSTICKokSTART;
//				ISsendKEYBOARD = SET;
//				break;
//			}
//		}

//	}
}

void Blink(void) {
	static uint32_t timeElpased = 0;
	if (HAL_GetTick() - timeElpased >= HE_value[1] / 10) {
		timeElpased = HAL_GetTick();
		HAL_GPIO_TogglePin(UserLED_GPIO_Port, UserLED_Pin);
	}
}

void EncoderUpdate(void) {
	bool pinA = LL_GPIO_IsInputPinSet(EnA_GPIO_Port, EnA_Pin);
	bool pinB = LL_GPIO_IsInputPinSet(EnB_GPIO_Port, EnB_Pin);

	if ((encoderPrevA == pinA && encoderPrevB == pinB))
		return;  // no change since last time (i.e. reject bounce)

	// same direction (alternating between 0,1 and 1,0 in one direction or 1,1 and 0,0 in the other direction)
	if (encoderPrevA == 1 && encoderPrevB == 0 && pinA == 0 && pinB == 1)
		encoderPos -= 1;
	else if (encoderPrevA == 0 && encoderPrevB == 1 && pinA == 1 && pinB == 0)
		encoderPos -= 1;
	else if (encoderPrevA == 0 && encoderPrevB == 0 && pinA == 1 && pinB == 1)
		encoderPos += 1;
	else if (encoderPrevA == 1 && encoderPrevB == 1 && pinA == 0 && pinB == 0)
		encoderPos += 1;

	// change of direction
	else if (encoderPrevA == 1 && encoderPrevB == 0 && pinA == 0 && pinB == 0)
		encoderPos += 1;
	else if (encoderPrevA == 0 && encoderPrevB == 1 && pinA == 1 && pinB == 1)
		encoderPos += 1;
	else if (encoderPrevA == 0 && encoderPrevB == 0 && pinA == 1 && pinB == 0)
		encoderPos -= 1;
	else if (encoderPrevA == 1 && encoderPrevB == 1 && pinA == 0 && pinB == 1)
		encoderPos -= 1;

	//else if (serialDebug) Serial.println("Error: invalid rotary encoder pin state - prev=" + String(encoderPrevA) + ","
	//                                      + String(encoderPrevB) + " new=" + String(pinA) + "," + String(pinB));

	// update previous readings
	encoderPrevA = pinA;
	encoderPrevB = pinB;

//	if (encoderPos < lastEncoderPos - 1) {
//		lastEncoderPos = encoderPos;
//		encoderCCW = SET;
//	} else if (encoderPos > lastEncoderPos + 1) {
//		lastEncoderPos = encoderPos;
//		encoderCW = SET;
//	}
}

void Encoder(void) {
	if (HAL_GetTick() - lastEncoderTime > 100) {
		if (encoderPos < lastEncoderPos - 1) {
			lastEncoderPos = encoderPos;
			encoderCCW = SET;
			lastEncoderTime = HAL_GetTick();
//					buffer[6] = 0x1E;
		} else if (encoderPos > lastEncoderPos + 1) {
			lastEncoderPos = encoderPos;
			encoderCW = SET;
			lastEncoderTime = HAL_GetTick();
//					buffer[5] = 0x27;
		}
	}
}

void PushButtonUpdate(void) {
	static uint32_t lastPreased = 0;
	if (HAL_GetTick() - lastPreased >= 300) {
		lastPreased = HAL_GetTick();
		pushButtonState = SET;
	}
}

float Fconstrain(float value, float min, float max) {
	if (value < min) {
		return min;
	} else if (value > max) {
		return max;
	} else {
		return value;
	}
}

int32_t constrain(int32_t value, int32_t min, int32_t max) {
	if (value < min) {
		return min;
	} else if (value > max) {
		return max;
	} else {
		return value;
	}
}

void ssd1306_display(void) {
	if (pushButtonState && !ssd1306_Enable) {
		pushButtonState = RESET;
		ssd1306_Enable = SET;
		lastEncoderPos = encoderPos;
		LL_GPIO_TogglePin(UserLED_GPIO_Port, UserLED_Pin);
	}

	if (ssd1306_Enable) {
		uint32_t i = HAL_GetTick();

		ssd1306_Fill(Black);
		const int8_t x[3] = { 29, 65, 101 };
		const int8_t x1[3] = { 19, 55, 91 };
		const int8_t x2[3] = { 15, 51, 87 };
		char num[6] = "";
		for (int i = 0; i < 3; ++i) {
			float y = Fconstrain((float) HE_MMvalue[i] / 4.0, 0.0, 1.0);
			ssd1306_FillRectangle(x[i], 49 - (int) (y * 38), x[i] + 8, 49,
					White);
			ssd1306_SetCursor(x1[i], 11);
			ssd1306_WriteChar(KEY[i] + 0x3D, Font_7x10, White);
			if (HE_Status[i]) {
				ssd1306_DrawBitmap(x1[i], 24, bitmap_Press, 7, 22, White);
			} else {
				ssd1306_DrawBitmap(x1[i], 24, bitmap_Realese, 7, 22, White);
			}
			snprintf(num, sizeof(num), "%.3f",
					Fconstrain(HE_MMvalue[i], 0.0, 4.0));
			ssd1306_SetCursor(x2[i], 0);
			ssd1306_WriteString(num, Font_6x8, White);
		}

		if (!ssd1306_displayEditing) {
			if (encoderCCW) {
				encoderCCW = RESET;
				ssd1306_displayIndex++;
				if (ssd1306_displayIndex > 2) {
					ssd1306_displayIndex = 0;
				}
			}

			if (encoderCW) {
				encoderCW = RESET;
				ssd1306_displayIndex--;
				if (ssd1306_displayIndex < 0) {
					ssd1306_displayIndex = 2;
				}
			}
		}

		switch (ssd1306_displayIndex) {
		case 0:
//			ssd1306_SetCursor(15, 54);
//			ssd1306_WriteString(RTcount, Font_7x10, White);
//			snprintf(num, sizeof(num), "%ld", constrain(HE_RTcount, 0, 999999));
//			ssd1306_SetCursor(71, 54);
//			ssd1306_WriteString(num, Font_7x10, White);
			if (pushButtonState) {
				pushButtonState = RESET;
				ssd1306_Enable = RESET;
				lastEncoderPos = encoderPos;
				LL_GPIO_TogglePin(UserLED_GPIO_Port, UserLED_Pin);
				ssd1306_LOGO();
			}
			break;
		case 1:
		case 2:
			ssd1306_SetCursor(8, 54);
			ssd1306_WriteString(Trig, Font_7x10, White);
			ssd1306_SetCursor(78, 54);
			ssd1306_WriteString(RT, Font_7x10, White);

			snprintf(num, sizeof(num), "%.2f", HE_trigger);
			ssd1306_SetCursor(43, 54);
			ssd1306_WriteString(num, Font_7x10, White);

			snprintf(num, sizeof(num), "%.2f", HE_StatusChangeOffset);
			memmove(num, num + 1, strlen(num));
			ssd1306_SetCursor(99, 54);
			ssd1306_WriteString(num, Font_7x10, White);

			if (ssd1306_displayIndex == 1) {
				if (!ssd1306_displayEditing) {
					ssd1306_FillRectangle(33, 51, 46, 52, White);
					if (pushButtonState) {
						pushButtonState = RESET;
						ssd1306_displayEditing = SET;
					}
				} else {
					ssd1306_FillRectangle(8, 51, 71, 52, White);
					if (pushButtonState) {
						pushButtonState = RESET;
						ssd1306_displayEditing = RESET;
					}

					if (encoderCCW) {
						encoderCCW = RESET;
						HE_trigger += 0.01;
						if (HE_trigger > 3.00) {
							HE_trigger = 3.00;
						}
					}

					if (encoderCW) {
						encoderCW = RESET;
						HE_trigger -= 0.01;
						if (HE_trigger < 0.10) {
							HE_trigger = 0.10;
						}
					}
				}
			}

			if (ssd1306_displayIndex == 2) {
				if (!ssd1306_displayEditing) {
					ssd1306_FillRectangle(92, 51, 106, 52, White);
					if (pushButtonState) {
						pushButtonState = RESET;
						ssd1306_displayEditing = SET;
					}
				} else {
					ssd1306_FillRectangle(78, 51, 120, 52, White);
					if (pushButtonState) {
						pushButtonState = RESET;
						ssd1306_displayEditing = RESET;
					}

					if (encoderCCW) {
						encoderCCW = RESET;
						HE_StatusChangeOffset += 0.01;
						if (HE_StatusChangeOffset > 0.99) {
							HE_StatusChangeOffset = 0.99;
						}
					}

					if (encoderCW) {
						encoderCW = RESET;
						HE_StatusChangeOffset -= 0.01;
						if (HE_StatusChangeOffset < 0.10) {
							HE_StatusChangeOffset = 0.10;
						}
					}
				}
			}
			break;

		}
//		char buffer[20] = "";
//		snprintf(buffer, sizeof(buffer), "%lu", USBfailCOUNTER);
//		ssd1306_SetCursor(0, 54);
//		ssd1306_WriteString(buffer, Font_7x10, White);
		ssd1306_UpdateScreen();

		ssd1306_timeTaken = HAL_GetTick() - i;
	}
}

void ssd1306_LOGO(void) {
	ssd1306_Fill(Black);
	ssd1306_DrawBitmap(0, 0, bitmap_OSUlogo, 64, 64, White);
	ssd1306_SetCursor(68, 15);
	ssd1306_WriteString(RTosuPAD, Font_7x10, White);
	ssd1306_SetCursor(86, 27);
	ssd1306_WriteString(By, Font_7x10, White);
	ssd1306_SetCursor(65, 39);
	ssd1306_WriteString(fikr_hrd, Font_7x10, White);
	ssd1306_UpdateScreen();
}
/* USER CODE END 4 */

void Error_Handler(void) {
	__disable_irq();
	while (1) {
	}
}
